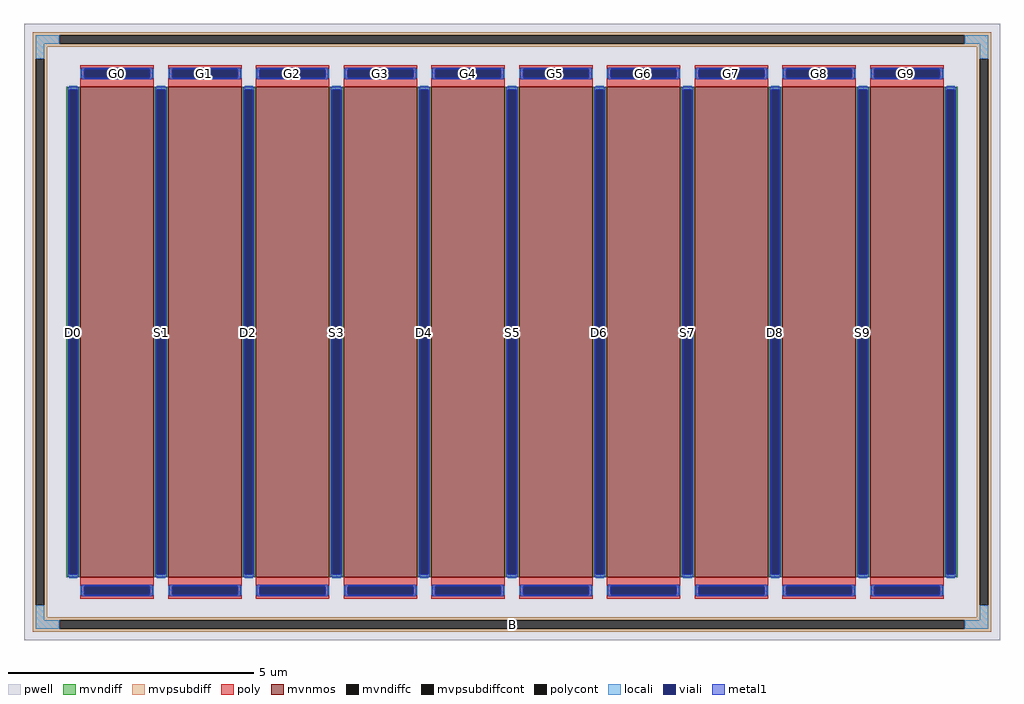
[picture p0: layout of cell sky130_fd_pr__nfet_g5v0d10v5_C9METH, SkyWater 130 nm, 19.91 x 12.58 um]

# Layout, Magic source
magic
tech sky130A
magscale 1 2
<< pwell >>
rect -1991 -1258 1991 1258
<< mvnmos >>
rect -1761 -1000 -1461 1000
rect -1403 -1000 -1103 1000
rect -1045 -1000 -745 1000
rect -687 -1000 -387 1000
rect -329 -1000 -29 1000
rect 29 -1000 329 1000
rect 387 -1000 687 1000
rect 745 -1000 1045 1000
rect 1103 -1000 1403 1000
rect 1461 -1000 1761 1000
<< mvndiff >>
rect -1819 988 -1761 1000
rect -1819 -988 -1807 988
rect -1773 -988 -1761 988
rect -1819 -1000 -1761 -988
rect -1461 988 -1403 1000
rect -1461 -988 -1449 988
rect -1415 -988 -1403 988
rect -1461 -1000 -1403 -988
rect -1103 988 -1045 1000
rect -1103 -988 -1091 988
rect -1057 -988 -1045 988
rect -1103 -1000 -1045 -988
rect -745 988 -687 1000
rect -745 -988 -733 988
rect -699 -988 -687 988
rect -745 -1000 -687 -988
rect -387 988 -329 1000
rect -387 -988 -375 988
rect -341 -988 -329 988
rect -387 -1000 -329 -988
rect -29 988 29 1000
rect -29 -988 -17 988
rect 17 -988 29 988
rect -29 -1000 29 -988
rect 329 988 387 1000
rect 329 -988 341 988
rect 375 -988 387 988
rect 329 -1000 387 -988
rect 687 988 745 1000
rect 687 -988 699 988
rect 733 -988 745 988
rect 687 -1000 745 -988
rect 1045 988 1103 1000
rect 1045 -988 1057 988
rect 1091 -988 1103 988
rect 1045 -1000 1103 -988
rect 1403 988 1461 1000
rect 1403 -988 1415 988
rect 1449 -988 1461 988
rect 1403 -1000 1461 -988
rect 1761 988 1819 1000
rect 1761 -988 1773 988
rect 1807 -988 1819 988
rect 1761 -1000 1819 -988
<< mvndiffc >>
rect -1807 -988 -1773 988
rect -1449 -988 -1415 988
rect -1091 -988 -1057 988
rect -733 -988 -699 988
rect -375 -988 -341 988
rect -17 -988 17 988
rect 341 -988 375 988
rect 699 -988 733 988
rect 1057 -988 1091 988
rect 1415 -988 1449 988
rect 1773 -988 1807 988
<< mvpsubdiff >>
rect -1955 1210 1955 1222
rect -1955 1176 -1847 1210
rect 1847 1176 1955 1210
rect -1955 1164 1955 1176
rect -1955 1114 -1897 1164
rect -1955 -1114 -1943 1114
rect -1909 -1114 -1897 1114
rect 1897 1114 1955 1164
rect -1955 -1164 -1897 -1114
rect 1897 -1114 1909 1114
rect 1943 -1114 1955 1114
rect 1897 -1164 1955 -1114
rect -1955 -1176 1955 -1164
rect -1955 -1210 -1847 -1176
rect 1847 -1210 1955 -1176
rect -1955 -1222 1955 -1210
<< mvpsubdiffcont >>
rect -1847 1176 1847 1210
rect -1943 -1114 -1909 1114
rect 1909 -1114 1943 1114
rect -1847 -1210 1847 -1176
<< poly >>
rect -1761 1072 -1461 1088
rect -1761 1038 -1745 1072
rect -1477 1038 -1461 1072
rect -1761 1000 -1461 1038
rect -1403 1072 -1103 1088
rect -1403 1038 -1387 1072
rect -1119 1038 -1103 1072
rect -1403 1000 -1103 1038
rect -1045 1072 -745 1088
rect -1045 1038 -1029 1072
rect -761 1038 -745 1072
rect -1045 1000 -745 1038
rect -687 1072 -387 1088
rect -687 1038 -671 1072
rect -403 1038 -387 1072
rect -687 1000 -387 1038
rect -329 1072 -29 1088
rect -329 1038 -313 1072
rect -45 1038 -29 1072
rect -329 1000 -29 1038
rect 29 1072 329 1088
rect 29 1038 45 1072
rect 313 1038 329 1072
rect 29 1000 329 1038
rect 387 1072 687 1088
rect 387 1038 403 1072
rect 671 1038 687 1072
rect 387 1000 687 1038
rect 745 1072 1045 1088
rect 745 1038 761 1072
rect 1029 1038 1045 1072
rect 745 1000 1045 1038
rect 1103 1072 1403 1088
rect 1103 1038 1119 1072
rect 1387 1038 1403 1072
rect 1103 1000 1403 1038
rect 1461 1072 1761 1088
rect 1461 1038 1477 1072
rect 1745 1038 1761 1072
rect 1461 1000 1761 1038
rect -1761 -1038 -1461 -1000
rect -1761 -1072 -1745 -1038
rect -1477 -1072 -1461 -1038
rect -1761 -1088 -1461 -1072
rect -1403 -1038 -1103 -1000
rect -1403 -1072 -1387 -1038
rect -1119 -1072 -1103 -1038
rect -1403 -1088 -1103 -1072
rect -1045 -1038 -745 -1000
rect -1045 -1072 -1029 -1038
rect -761 -1072 -745 -1038
rect -1045 -1088 -745 -1072
rect -687 -1038 -387 -1000
rect -687 -1072 -671 -1038
rect -403 -1072 -387 -1038
rect -687 -1088 -387 -1072
rect -329 -1038 -29 -1000
rect -329 -1072 -313 -1038
rect -45 -1072 -29 -1038
rect -329 -1088 -29 -1072
rect 29 -1038 329 -1000
rect 29 -1072 45 -1038
rect 313 -1072 329 -1038
rect 29 -1088 329 -1072
rect 387 -1038 687 -1000
rect 387 -1072 403 -1038
rect 671 -1072 687 -1038
rect 387 -1088 687 -1072
rect 745 -1038 1045 -1000
rect 745 -1072 761 -1038
rect 1029 -1072 1045 -1038
rect 745 -1088 1045 -1072
rect 1103 -1038 1403 -1000
rect 1103 -1072 1119 -1038
rect 1387 -1072 1403 -1038
rect 1103 -1088 1403 -1072
rect 1461 -1038 1761 -1000
rect 1461 -1072 1477 -1038
rect 1745 -1072 1761 -1038
rect 1461 -1088 1761 -1072
<< polycont >>
rect -1745 1038 -1477 1072
rect -1387 1038 -1119 1072
rect -1029 1038 -761 1072
rect -671 1038 -403 1072
rect -313 1038 -45 1072
rect 45 1038 313 1072
rect 403 1038 671 1072
rect 761 1038 1029 1072
rect 1119 1038 1387 1072
rect 1477 1038 1745 1072
rect -1745 -1072 -1477 -1038
rect -1387 -1072 -1119 -1038
rect -1029 -1072 -761 -1038
rect -671 -1072 -403 -1038
rect -313 -1072 -45 -1038
rect 45 -1072 313 -1038
rect 403 -1072 671 -1038
rect 761 -1072 1029 -1038
rect 1119 -1072 1387 -1038
rect 1477 -1072 1745 -1038
<< locali >>
rect -1943 1176 -1847 1210
rect 1847 1176 1943 1210
rect -1943 1114 -1909 1176
rect 1909 1114 1943 1176
rect -1761 1038 -1745 1072
rect -1477 1038 -1461 1072
rect -1403 1038 -1387 1072
rect -1119 1038 -1103 1072
rect -1045 1038 -1029 1072
rect -761 1038 -745 1072
rect -687 1038 -671 1072
rect -403 1038 -387 1072
rect -329 1038 -313 1072
rect -45 1038 -29 1072
rect 29 1038 45 1072
rect 313 1038 329 1072
rect 387 1038 403 1072
rect 671 1038 687 1072
rect 745 1038 761 1072
rect 1029 1038 1045 1072
rect 1103 1038 1119 1072
rect 1387 1038 1403 1072
rect 1461 1038 1477 1072
rect 1745 1038 1761 1072
rect -1807 988 -1773 1004
rect -1807 -1004 -1773 -988
rect -1449 988 -1415 1004
rect -1449 -1004 -1415 -988
rect -1091 988 -1057 1004
rect -1091 -1004 -1057 -988
rect -733 988 -699 1004
rect -733 -1004 -699 -988
rect -375 988 -341 1004
rect -375 -1004 -341 -988
rect -17 988 17 1004
rect -17 -1004 17 -988
rect 341 988 375 1004
rect 341 -1004 375 -988
rect 699 988 733 1004
rect 699 -1004 733 -988
rect 1057 988 1091 1004
rect 1057 -1004 1091 -988
rect 1415 988 1449 1004
rect 1415 -1004 1449 -988
rect 1773 988 1807 1004
rect 1773 -1004 1807 -988
rect -1761 -1072 -1745 -1038
rect -1477 -1072 -1461 -1038
rect -1403 -1072 -1387 -1038
rect -1119 -1072 -1103 -1038
rect -1045 -1072 -1029 -1038
rect -761 -1072 -745 -1038
rect -687 -1072 -671 -1038
rect -403 -1072 -387 -1038
rect -329 -1072 -313 -1038
rect -45 -1072 -29 -1038
rect 29 -1072 45 -1038
rect 313 -1072 329 -1038
rect 387 -1072 403 -1038
rect 671 -1072 687 -1038
rect 745 -1072 761 -1038
rect 1029 -1072 1045 -1038
rect 1103 -1072 1119 -1038
rect 1387 -1072 1403 -1038
rect 1461 -1072 1477 -1038
rect 1745 -1072 1761 -1038
rect -1943 -1176 -1909 -1114
rect 1909 -1176 1943 -1114
rect -1943 -1210 -1847 -1176
rect 1847 -1210 1943 -1176
<< viali >>
rect -1745 1038 -1477 1072
rect -1387 1038 -1119 1072
rect -1029 1038 -761 1072
rect -671 1038 -403 1072
rect -313 1038 -45 1072
rect 45 1038 313 1072
rect 403 1038 671 1072
rect 761 1038 1029 1072
rect 1119 1038 1387 1072
rect 1477 1038 1745 1072
rect -1807 -988 -1773 988
rect -1449 -988 -1415 988
rect -1091 -988 -1057 988
rect -733 -988 -699 988
rect -375 -988 -341 988
rect -17 -988 17 988
rect 341 -988 375 988
rect 699 -988 733 988
rect 1057 -988 1091 988
rect 1415 -988 1449 988
rect 1773 -988 1807 988
rect -1745 -1072 -1477 -1038
rect -1387 -1072 -1119 -1038
rect -1029 -1072 -761 -1038
rect -671 -1072 -403 -1038
rect -313 -1072 -45 -1038
rect 45 -1072 313 -1038
rect 403 -1072 671 -1038
rect 761 -1072 1029 -1038
rect 1119 -1072 1387 -1038
rect 1477 -1072 1745 -1038
<< metal1 >>
rect -1757 1072 -1465 1078
rect -1757 1038 -1745 1072
rect -1477 1038 -1465 1072
rect -1757 1032 -1465 1038
rect -1399 1072 -1107 1078
rect -1399 1038 -1387 1072
rect -1119 1038 -1107 1072
rect -1399 1032 -1107 1038
rect -1041 1072 -749 1078
rect -1041 1038 -1029 1072
rect -761 1038 -749 1072
rect -1041 1032 -749 1038
rect -683 1072 -391 1078
rect -683 1038 -671 1072
rect -403 1038 -391 1072
rect -683 1032 -391 1038
rect -325 1072 -33 1078
rect -325 1038 -313 1072
rect -45 1038 -33 1072
rect -325 1032 -33 1038
rect 33 1072 325 1078
rect 33 1038 45 1072
rect 313 1038 325 1072
rect 33 1032 325 1038
rect 391 1072 683 1078
rect 391 1038 403 1072
rect 671 1038 683 1072
rect 391 1032 683 1038
rect 749 1072 1041 1078
rect 749 1038 761 1072
rect 1029 1038 1041 1072
rect 749 1032 1041 1038
rect 1107 1072 1399 1078
rect 1107 1038 1119 1072
rect 1387 1038 1399 1072
rect 1107 1032 1399 1038
rect 1465 1072 1757 1078
rect 1465 1038 1477 1072
rect 1745 1038 1757 1072
rect 1465 1032 1757 1038
rect -1813 988 -1767 1000
rect -1813 -988 -1807 988
rect -1773 -988 -1767 988
rect -1813 -1000 -1767 -988
rect -1455 988 -1409 1000
rect -1455 -988 -1449 988
rect -1415 -988 -1409 988
rect -1455 -1000 -1409 -988
rect -1097 988 -1051 1000
rect -1097 -988 -1091 988
rect -1057 -988 -1051 988
rect -1097 -1000 -1051 -988
rect -739 988 -693 1000
rect -739 -988 -733 988
rect -699 -988 -693 988
rect -739 -1000 -693 -988
rect -381 988 -335 1000
rect -381 -988 -375 988
rect -341 -988 -335 988
rect -381 -1000 -335 -988
rect -23 988 23 1000
rect -23 -988 -17 988
rect 17 -988 23 988
rect -23 -1000 23 -988
rect 335 988 381 1000
rect 335 -988 341 988
rect 375 -988 381 988
rect 335 -1000 381 -988
rect 693 988 739 1000
rect 693 -988 699 988
rect 733 -988 739 988
rect 693 -1000 739 -988
rect 1051 988 1097 1000
rect 1051 -988 1057 988
rect 1091 -988 1097 988
rect 1051 -1000 1097 -988
rect 1409 988 1455 1000
rect 1409 -988 1415 988
rect 1449 -988 1455 988
rect 1409 -1000 1455 -988
rect 1767 988 1813 1000
rect 1767 -988 1773 988
rect 1807 -988 1813 988
rect 1767 -1000 1813 -988
rect -1757 -1038 -1465 -1032
rect -1757 -1072 -1745 -1038
rect -1477 -1072 -1465 -1038
rect -1757 -1078 -1465 -1072
rect -1399 -1038 -1107 -1032
rect -1399 -1072 -1387 -1038
rect -1119 -1072 -1107 -1038
rect -1399 -1078 -1107 -1072
rect -1041 -1038 -749 -1032
rect -1041 -1072 -1029 -1038
rect -761 -1072 -749 -1038
rect -1041 -1078 -749 -1072
rect -683 -1038 -391 -1032
rect -683 -1072 -671 -1038
rect -403 -1072 -391 -1038
rect -683 -1078 -391 -1072
rect -325 -1038 -33 -1032
rect -325 -1072 -313 -1038
rect -45 -1072 -33 -1038
rect -325 -1078 -33 -1072
rect 33 -1038 325 -1032
rect 33 -1072 45 -1038
rect 313 -1072 325 -1038
rect 33 -1078 325 -1072
rect 391 -1038 683 -1032
rect 391 -1072 403 -1038
rect 671 -1072 683 -1038
rect 391 -1078 683 -1072
rect 749 -1038 1041 -1032
rect 749 -1072 761 -1038
rect 1029 -1072 1041 -1038
rect 749 -1078 1041 -1072
rect 1107 -1038 1399 -1032
rect 1107 -1072 1119 -1038
rect 1387 -1072 1399 -1038
rect 1107 -1078 1399 -1072
rect 1465 -1038 1757 -1032
rect 1465 -1072 1477 -1038
rect 1745 -1072 1757 -1038
rect 1465 -1078 1757 -1072
<< labels >>
rlabel mvpsubdiffcont 0 -1193 0 -1193 0 B
port 1 nsew
rlabel mvndiffc -1790 0 -1790 0 0 D0
port 2 nsew
rlabel polycont -1611 1055 -1611 1055 0 G0
port 3 nsew
rlabel mvndiffc -1432 0 -1432 0 0 S1
port 4 nsew
rlabel polycont -1253 1055 -1253 1055 0 G1
port 5 nsew
rlabel mvndiffc -1074 0 -1074 0 0 D2
port 6 nsew
rlabel polycont -895 1055 -895 1055 0 G2
port 7 nsew
rlabel mvndiffc -716 0 -716 0 0 S3
port 8 nsew
rlabel polycont -537 1055 -537 1055 0 G3
port 9 nsew
rlabel mvndiffc -358 0 -358 0 0 D4
port 10 nsew
rlabel polycont -179 1055 -179 1055 0 G4
port 11 nsew
rlabel mvndiffc 0 0 0 0 0 S5
port 12 nsew
rlabel polycont 179 1055 179 1055 0 G5
port 13 nsew
rlabel mvndiffc 358 0 358 0 0 D6
port 14 nsew
rlabel polycont 537 1055 537 1055 0 G6
port 15 nsew
rlabel mvndiffc 716 0 716 0 0 S7
port 16 nsew
rlabel polycont 895 1055 895 1055 0 G7
port 17 nsew
rlabel mvndiffc 1074 0 1074 0 0 D8
port 18 nsew
rlabel polycont 1253 1055 1253 1055 0 G8
port 19 nsew
rlabel mvndiffc 1432 0 1432 0 0 S9
port 20 nsew
rlabel polycont 1611 1055 1611 1055 0 G9
port 21 nsew
<< properties >>
string FIXED_BBOX -1926 -1193 1926 1193
string gencell sky130_fd_pr__nfet_g5v0d10v5
string library sky130
string parameters w 10 l 1.5 m 1 nf 10 diffcov 100 polycov 100 guard 1 glc 1 grc 1 gtc 1 gbc 1 tbcov 100 rlcov 100 topc 1 botc 1 poverlap 0 doverlap 1 lmin 0.50 wmin 0.42 class mosfet compatible {sky130_fd_pr__nfet_01v8 sky130_fd_pr__nfet_01v8_lvt  sky130_fd_bs_flash__special_sonosfet_star  sky130_fd_pr__nfet_g5v0d10v5 sky130_fd_pr__nfet_05v0_nvt  sky130_fd_pr__nfet_03v3_nvt} full_metal 1 conn_gates 0 viasrc 100 viadrn 100 viagate 100 viagb 0 viagr 0 viagl 0 viagt 0 doports 1
<< end >>
